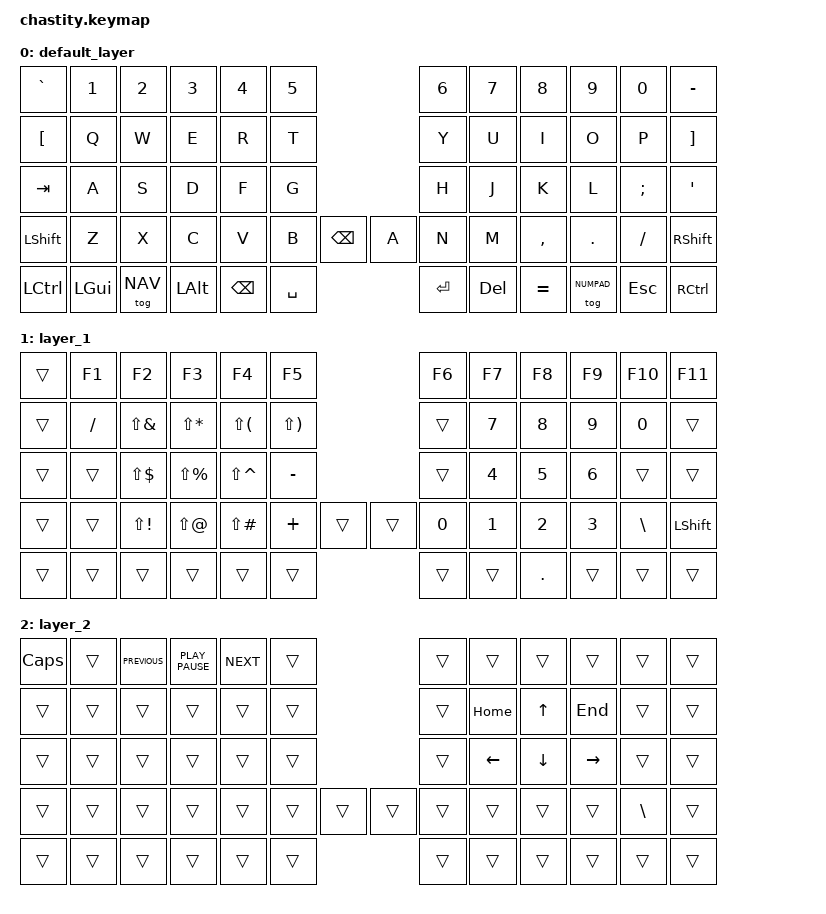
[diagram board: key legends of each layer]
#include <behaviors.dtsi>
#include <dt-bindings/zmk/keys.h>

#define DEFAULT 0
#define NUMPAD  1
#define NAV     2

/ {
    keymap {
        compatible = "zmk,keymap";

        default_layer {
            bindings = <
&kp GRAVE  &kp N1    &kp N2    &kp N3    &kp N4    &kp N5                      &kp N6   &kp N7   &kp N8     &kp N9       &kp N0    &kp MINUS
&kp LBKT   &kp Q     &kp W     &kp E     &kp R     &kp T                       &kp Y    &kp U    &kp I      &kp O        &kp P     &kp RBKT
&kp TAB    &kp A     &kp S     &kp D     &kp F     &kp G                       &kp H    &kp J    &kp K      &kp L        &kp SEMI  &kp SQT
&kp LSHFT  &kp Z     &kp X     &kp C     &kp V     &kp B      &kp BSPC  &kp A  &kp N    &kp M    &kp COMMA  &kp DOT      &kp FSLH  &kp RSHFT
&kp LCTRL  &kp LGUI  &tog NAV  &kp LALT  &kp BSPC  &kp SPACE                   &kp RET  &kp DEL  &kp EQUAL  &tog NUMPAD  &kp ESC   &kp RCTRL
            >;
        };

        layer_1 {
            bindings = <
&trans  &kp F1    &kp F2        &kp F3         &kp F4         &kp F5                        &kp F6  &kp F7  &kp F8   &kp F9  &kp F10   &kp F11
&trans  &kp FSLH  &kp LS(AMPS)  &kp LS(STAR)   &kp LS(LPAR)   &kp LS(RPAR)                  &trans  &kp N7  &kp N8   &kp N9  &kp N0    &trans
&trans  &trans    &kp LS(DLLR)  &kp LS(PRCNT)  &kp LS(CARET)  &kp MINUS                     &trans  &kp N4  &kp N5   &kp N6  &trans    &trans
&trans  &trans    &kp LS(EXCL)  &kp LS(AT)     &kp LS(POUND)  &kp PLUS      &trans  &trans  &kp N0  &kp N1  &kp N2   &kp N3  &kp BSLH  &kp LSHFT
&trans  &trans    &trans        &trans         &trans         &trans                        &trans  &trans  &kp DOT  &trans  &trans    &trans
            >;
        };

        layer_2 {
            bindings = <
&kp CAPS  &trans  &kp K_PREVIOUS  &kp K_PLAY_PAUSE  &kp K_NEXT  &trans                  &trans  &trans    &trans    &trans     &trans    &trans
&trans    &trans  &trans          &trans            &trans      &trans                  &trans  &kp HOME  &kp UP    &kp END    &trans    &trans
&trans    &trans  &trans          &trans            &trans      &trans                  &trans  &kp LEFT  &kp DOWN  &kp RIGHT  &trans    &trans
&trans    &trans  &trans          &trans            &trans      &trans  &trans  &trans  &trans  &trans    &trans    &trans     &kp BSLH  &trans
&trans    &trans  &trans          &trans            &trans      &trans                  &trans  &trans    &trans    &trans     &trans    &trans
            >;
        };
    };
};
